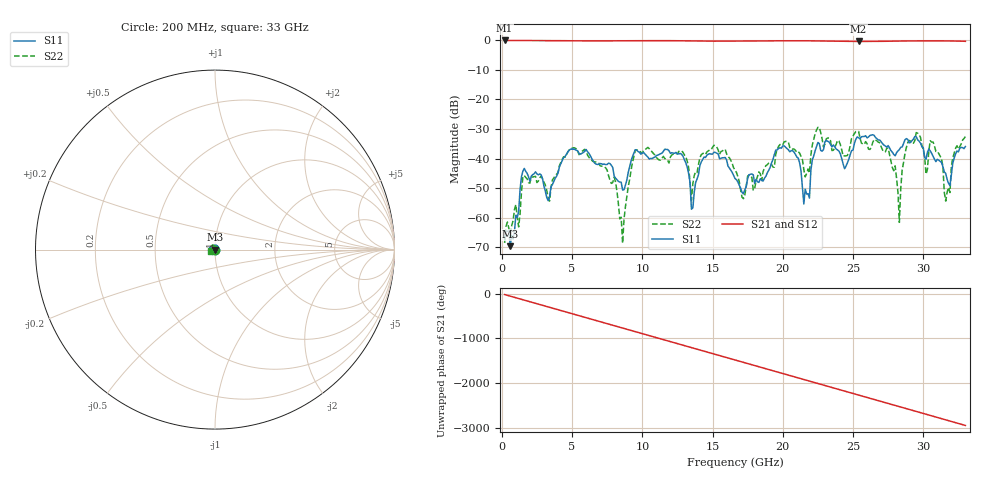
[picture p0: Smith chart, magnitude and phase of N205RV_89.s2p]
# GHZ S RI R 50
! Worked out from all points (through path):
!   329 points, 200 MHz to 33 GHz, reference 50 ohm
!   highest |S21| = -0.01 dB at 200 MHz (marker M1); lowest = -0.4 dB at 25.4 GHz (marker M2)
!   group delay of S21, straight-line fit = 248 ps
!   lowest |S11| = -69.7 dB at 600 MHz (marker M3), VSWR 1.00, Z = 50 + j0.0155 ohm
!   |S11| at or under -10 dB: start of sweep to end of sweep
!   |S22| runs from -68.7 to -29.4 dB; largest |S21 - S12| = 0.0019
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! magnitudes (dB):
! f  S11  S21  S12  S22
! 200 MHz  -67.1  0.0  0.0  -68.6
! 600 MHz  -69.7  0.0  0.0  -65.4
! 1.6 GHz  -43.4  0.0  0.0  -45.8
! 3.3 GHz  -54.3  -0.1  -0.1  -53.3
! 5.7 GHz  -38.2  -0.1  -0.1  -37.6
! 8 GHz  -45.9  -0.1  -0.1  -46.3
! 8.6 GHz  -50.7  -0.1  -0.1  -68.7
! 9.5 GHz  -37.0  -0.1  -0.1  -37.3
! 11.2 GHz  -38.6  -0.1  -0.1  -40.5
! 12.9 GHz  -39.2  -0.1  -0.1  -37.9
! 13.5 GHz  -57.2  -0.2  -0.2  -54.1
! 14.4 GHz  -39.5  -0.2  -0.2  -38.2
! 16.6 GHz  -46.8  -0.3  -0.3  -43.8
! 20.1 GHz  -35.7  -0.1  -0.1  -34.4
! 21.5 GHz  -55.4  -0.1  -0.1  -43.8
! 22.1 GHz  -40.5  -0.1  -0.1  -35.5
! 25.4 GHz  -33.0  -0.4  -0.4  -30.8
! 27.6 GHz  -36.4  -0.3  -0.3  -38.6
! 28.3 GHz  -37.0  -0.2  -0.2  -61.6
! 29 GHz  -34.7  -0.2  -0.2  -33.9
! 31.6 GHz  -45.0  -0.2  -0.2  -54.4
! 33 GHz  -35.9  -0.3  -0.3  -32.6
